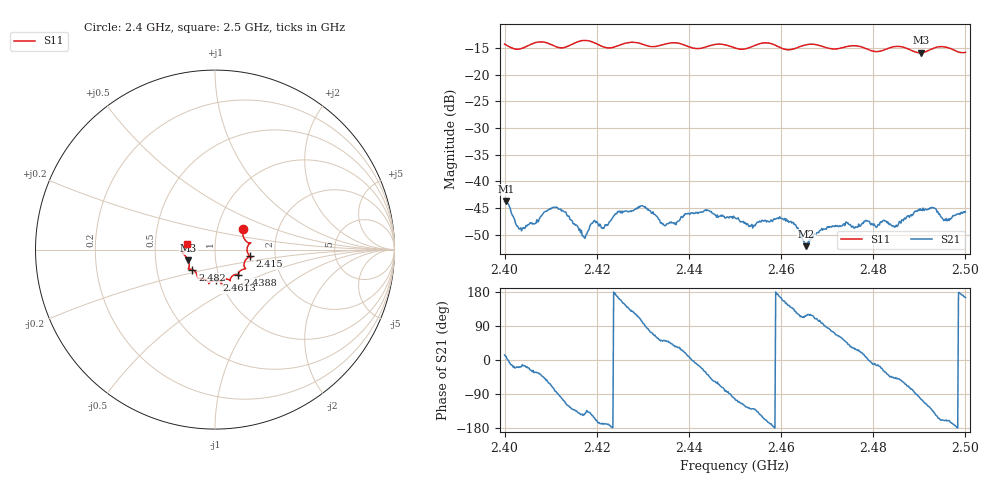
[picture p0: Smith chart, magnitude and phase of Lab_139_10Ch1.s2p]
# Hz S RI R 50
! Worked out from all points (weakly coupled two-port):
!   601 points, 2.4 GHz to 2.5 GHz, reference 50 ohm
!   highest |S21| = -43.71 dB at 2.4003 GHz (marker M1); lowest = -52.2 dB at 2.4655 GHz (marker M2)
!   lowest |S11| = -15.9 dB at 2.4903 GHz (marker M3), VSWR 1.38, Z = 36.8 - j4.43 ohm
!   |S11| at or under -10 dB: start of sweep to end of sweep
!   S12 and S22 are empty: the file has one direction only
!   S11 on the Smith chart (normalised r, x): 2.4 GHz: 1.33, +0.31; 2.415 GHz: 1.47, -0.11; 2.4388 GHz: 1.24, -0.36; 2.4613 GHz: 0.96, -0.34; 2.482 GHz: 0.76, -0.17; 2.5 GHz: 0.72, +0.05
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2.4e9  0.1573 0.1125  0.0063 0.00148  0 0  0 0
2.400333e9  0.1563 0.1083  0.00644 0.00105  0 0  0 0
2.403333e9  0.1647 0.0579  0.00342 -0.00117  0 0  0 0
2.410833e9  0.1842 0.0224  0.000991 -0.0056  0 0  0 0
2.415e9  0.1928 -0.0362  -0.00265 -0.00298  0 0  0 0
2.416667e9  0.2038 -0.0441  -0.0028 -0.00204  0 0  0 0
2.429667e9  0.1625 -0.108  -0.00137 0.00575  0 0  0 0
2.433333e9  0.1317 -0.1316  0.00243 0.00377  0 0  0 0
2.435e9  0.1307 -0.1441  0.00243 0.00302  0 0  0 0
2.438833e9  0.1296 -0.1403  0.00441 0.00188  0 0  0 0
2.45e9  0.0687 -0.1647  -0.00104 -0.00442  0 0  0 0
2.4535e9  0.0363 -0.1787  -0.00247 -0.00299  0 0  0 0
2.461333e9  0.00801 -0.1713  -0.00355 0.00231  0 0  0 0
2.4655e9  -0.0342 -0.1882  -0.00116 0.00218  0 0  0 0
2.466667e9  -0.0348 -0.1903  -0.00137 0.00261  0 0  0 0
2.4705e9  -0.0484 -0.1698  0.000529 0.00373  0 0  0 0
2.482e9  -0.126 -0.1117  0.00389 -0.00173  0 0  0 0
2.483333e9  -0.1397 -0.1088  0.00307 -0.00259  0 0  0 0
2.490333e9  -0.1495 -0.0586  -0.0012 -0.00522  0 0  0 0
2.493167e9  -0.1758 -0.0255  -0.00419 -0.00372  0 0  0 0
2.495667e9  -0.1807 -0.018  -0.00403 -0.00152  0 0  0 0
2.5e9  -0.1587 0.0325  -0.00498 0.00138  0 0  0 0
